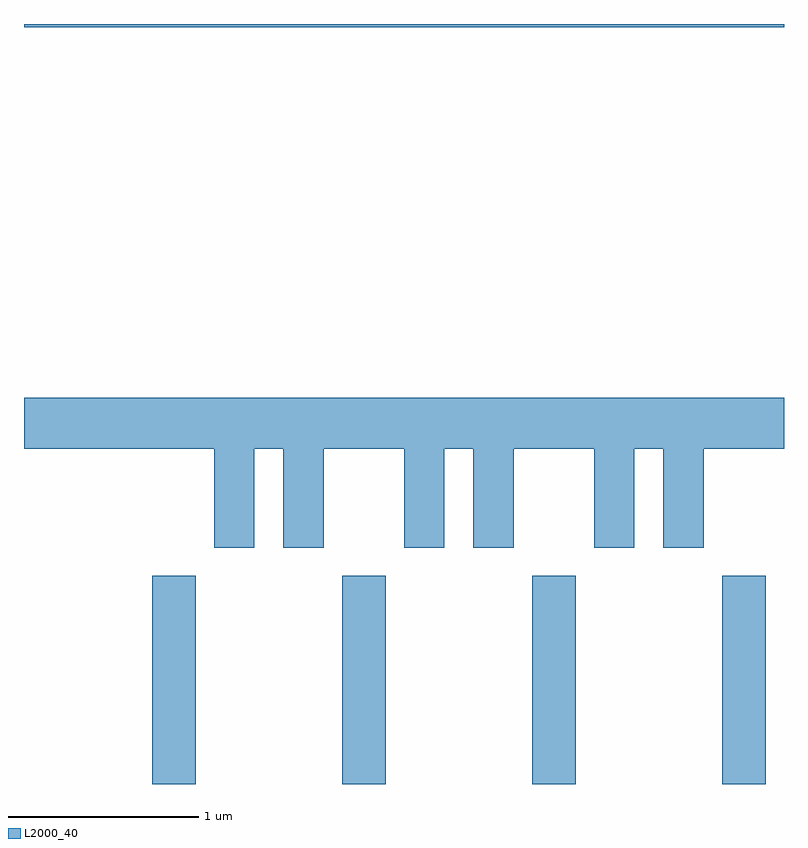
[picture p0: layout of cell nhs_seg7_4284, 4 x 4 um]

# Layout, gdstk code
import gdstk
lib = gdstk.Library(unit=1e-6, precision=1e-09)
def R(c, l, rs):  # rectangles x0, y0, x1, y1
    for r in rs: c.add(gdstk.rectangle(r[:2], r[2:], *l))
def A(c, l, x, y, w, h, nx, ny, dx, dy):  # array of equal rectangles
    R(c, l, [(x+i*dx, y+j*dy, x+i*dx+w, y+j*dy+h) for i in range(nx) for j in range(ny)])
def P(c, l, *ps):  # polygons
    for p in ps: c.add(gdstk.Polygon(p, *l))
L2000_40 = (2000, 40)

nhs_seg7_4284 = lib.new_cell('nhs_seg7_4284')
A(nhs_seg7_4284, L2000_40, 316.286, 1790.252, 0.228, 1.097, 4, 1, 1, 0)
R(nhs_seg7_4284, L2000_40, [(315.611,1794.236,319.611,1794.252)])
P(nhs_seg7_4284, L2000_40, [(316.824,1792.016),(316.976,1792.016),(316.976,1791.496),(317.189,1791.496),(317.189,1792.016),(317.611,1792.016),(317.611,1791.496),(317.824,1791.496),(317.824,1792.016),(317.976,1792.016),(317.976,1791.496),(318.189,1791.496),(318.189,1792.016),(318.611,1792.016),(318.611,1791.496),(318.824,1791.496),(318.824,1792.016),(318.976,1792.016),(318.976,1791.496),(319.189,1791.496),(319.189,1792.016),(319.611,1792.016),(319.611,1792.284),(315.611,1792.284),(315.611,1792.016),(316.611,1792.016),(316.611,1791.496),(316.824,1791.496)])

lib.write_gds('nhs_seg7_4284.gds')
